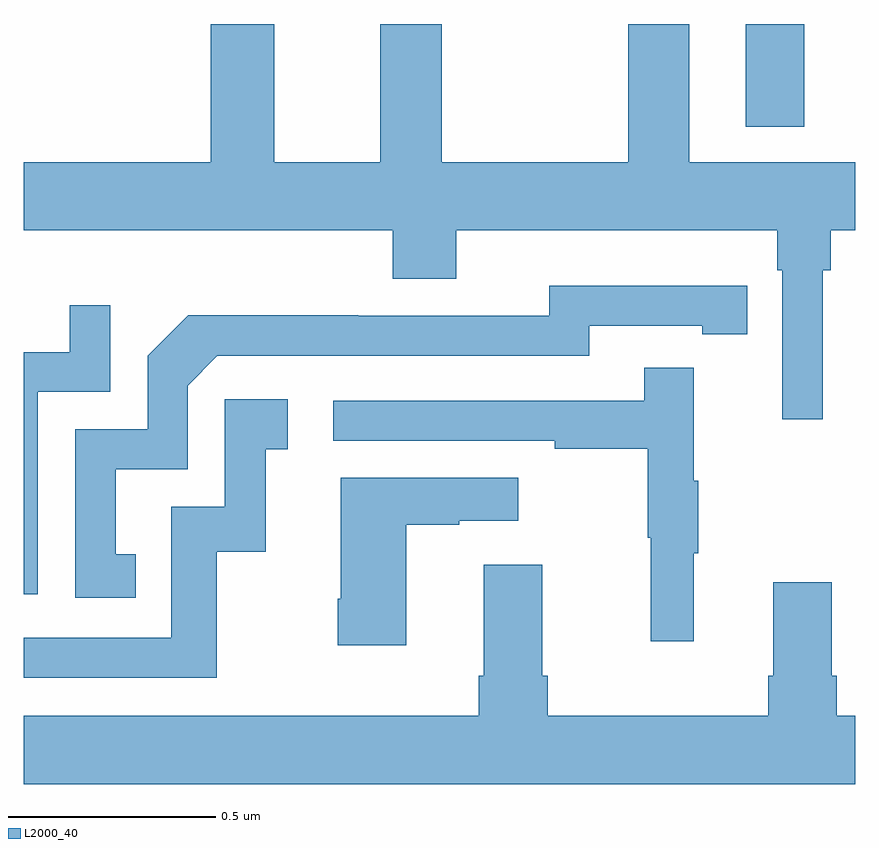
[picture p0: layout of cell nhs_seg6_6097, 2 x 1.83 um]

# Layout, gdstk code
import gdstk
lib = gdstk.Library(unit=1e-6, precision=1e-09)
def R(c, l, rs):  # rectangles x0, y0, x1, y1
    for r in rs: c.add(gdstk.rectangle(r[:2], r[2:], *l))
def P(c, l, *ps):  # polygons
    for p in ps: c.add(gdstk.Polygon(p, *l))
L2000_40 = (2000, 40)

nhs_seg6_6097 = lib.new_cell('nhs_seg6_6097')
R(nhs_seg6_6097, L2000_40, [(192.737,946.253,192.877,946.5)])
P(nhs_seg6_6097, L2000_40, [(192.922,945.908),(192.941,945.908),(192.941,946.004),(193,946.004),(193,946.168),(192.601,946.168),(192.601,946.5),(192.454,946.5),(192.454,946.168),(192.006,946.168),(192.006,946.5),(191.858,946.5),(191.858,946.168),(191.602,946.168),(191.602,946.5),(191.45,946.5),(191.45,946.168),(191,946.168),(191,946.004),(191.888,946.004),(191.888,945.887),(192.04,945.887),(192.04,946.004),(192.812,946.004),(192.812,945.908),(192.825,945.908),(192.825,945.549),(192.922,945.549)],
  [(191.27,945.225),(191.221,945.225),(191.221,945.429),(191.394,945.429),(191.394,945.63),(191.466,945.702),(192.36,945.702),(192.36,945.774),(192.632,945.774),(192.632,945.754),(192.74,945.754),(192.74,945.87),(192.632,945.87),(192.632,945.871),(192.264,945.871),(192.264,945.798),(191.804,945.798),(191.804,945.8),(191.396,945.8),(191.298,945.702),(191.298,945.525),(191.124,945.525),(191.124,945.12),(191.27,945.12)],
  [(191.034,945.615),(191.208,945.615),(191.208,945.823),(191.111,945.823),(191.111,945.711),(191,945.711),(191,945.129),(191.034,945.129)],
  [(192.611,945.227),(192.622,945.227),(192.622,945.401),(192.611,945.401),(192.611,945.673),(192.493,945.673),(192.493,945.594),(191.745,945.594),(191.745,945.498),(192.277,945.498),(192.277,945.478),(192.501,945.478),(192.501,945.264),(192.508,945.264),(192.508,945.015),(192.611,945.015)],
  [(191.464,945.231),(191.582,945.231),(191.582,945.477),(191.635,945.477),(191.635,945.598),(191.484,945.598),(191.484,945.339),(191.355,945.339),(191.355,945.024),(191,945.024),(191,944.928),(191.464,944.928)],
  [(191.92,945.295),(192.047,945.295),(192.047,945.305),(192.19,945.305),(192.19,945.409),(191.762,945.409),(191.762,945.118),(191.755,945.118),(191.755,945.006),(191.92,945.006)],
  [(193,944.836),(192.956,944.836),(192.956,944.932),(192.943,944.932),(192.943,945.157),(192.803,945.157),(192.803,944.932),(192.791,944.932),(192.791,944.836),(192.26,944.836),(192.26,944.932),(192.247,944.932),(192.247,945.199),(192.107,945.199),(192.107,944.932),(192.095,944.932),(192.095,944.836),(191,944.836),(191,944.672),(193,944.672)])

lib.write_gds('nhs_seg6_6097.gds')
